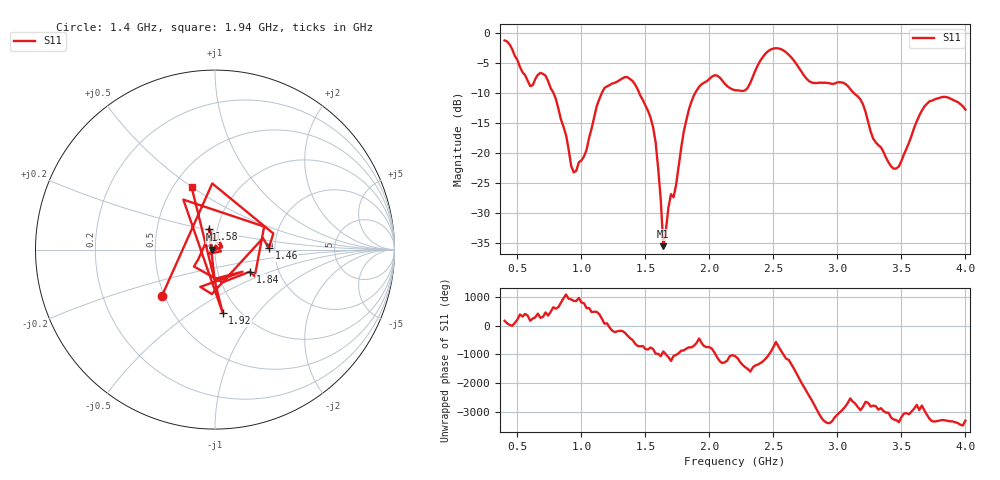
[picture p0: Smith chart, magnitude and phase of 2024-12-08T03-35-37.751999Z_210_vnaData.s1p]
!Created with skrf (http://scikit-rf.org).
# Hz S RI R 50.0
!freq ReS11 ImS11
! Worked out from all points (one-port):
!   181 points, 400 MHz to 4 GHz, reference 50 ohm
!   lowest |S11| = -35.5 dB at 1.64 GHz (marker M1), VSWR 1.03, Z = 48.4 - j0.091 ohm
!   |S11| at or under -10 dB: 780.8 MHz to 1.161 GHz (379.7 MHz wide, 39.1 % of centre); 1.451 GHz to 1.89 GHz (439.3 MHz wide, 26.3 % of centre); 3.125 GHz to end of sweep
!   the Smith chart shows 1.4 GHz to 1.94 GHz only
!   S11 on the Smith chart (normalised r, x): 1.4 GHz: 0.48, -0.30; 1.46 GHz: 1.86, +0.03; 1.58 GHz: 0.91, +0.22; 1.84 GHz: 1.43, -0.37; 1.92 GHz: 0.84, -0.68; 1.94 GHz: 0.61, +0.50
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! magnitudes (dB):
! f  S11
! 400 MHz  -1.3
! 600 MHz  -8.9
! 720 MHz  -7.2
! 860 MHz  -15.7
! 920 MHz  -22.2
! 960 MHz  -23.0
! 1.16 GHz  -10.0
! 1.3 GHz  -7.9
! 1.4 GHz  -8.1
! 1.46 GHz  -10.5
! 1.58 GHz  -18.3
! 1.64 GHz  -35.5
! 1.7 GHz  -26.9
! 1.72 GHz  -27.4
! 1.76 GHz  -22.2
! 1.84 GHz  -12.8
! 1.92 GHz  -9.0
! 1.94 GHz  -8.6
! 2.2 GHz  -9.6
! 2.3 GHz  -9.2
! 2.48 GHz  -2.8
! 2.66 GHz  -4.6
! 2.78 GHz  -8.1
! 3.1 GHz  -9.4
! 3.42 GHz  -22.3
! 3.56 GHz  -18.3
! 3.72 GHz  -11.4
! 4 GHz  -12.8
